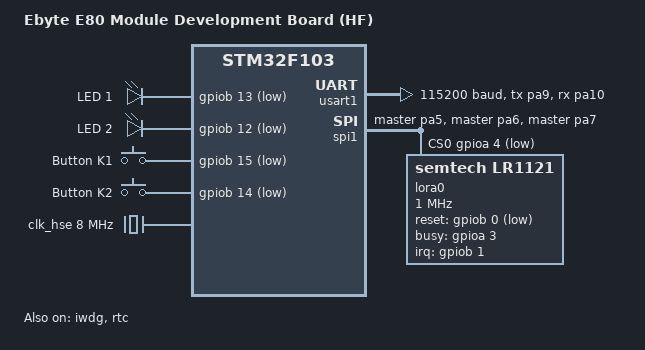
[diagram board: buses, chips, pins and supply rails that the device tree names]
/*
 * Copyright (c) 2026 MASSDRIVER EI (massdriver.space)
 *
 * SPDX-License-Identifier: Apache-2.0
 */

/dts-v1/;
#include <st/f1/stm32f103X8.dtsi>
#include <st/f1/stm32f103r(8-b)tx-pinctrl.dtsi>
#include <dt-bindings/input/input-event-codes.h>

/ {
	model = "Ebyte E80 Module Development Board (HF)";
	compatible = "stm32f103";

	chosen {
		zephyr,console = &usart1;
		zephyr,shell-uart = &usart1;
		zephyr,sram = &sram0;
		zephyr,flash = &flash0;
	};

	leds {
		compatible = "gpio-leds";

		blue_led_0: led_0 {
			gpios = <&gpiob 13 GPIO_ACTIVE_LOW>;
			label = "LED 1";
		};

		blue_led_1: led_1 {
			gpios = <&gpiob 12 GPIO_ACTIVE_LOW>;
			label = "LED 2";
		};
	};

	buttons {
		compatible = "gpio-keys";

		button_k1: sw0 {
			gpios = <&gpiob 15 (GPIO_PULL_UP | GPIO_ACTIVE_LOW)>;
			label = "Button K1";
			zephyr,code = <INPUT_KEY_0>;
		};

		button_k2: sw1 {
			gpios = <&gpiob 14 (GPIO_PULL_UP | GPIO_ACTIVE_LOW)>;
			label = "Button K2";
			zephyr,code = <INPUT_KEY_1>;
		};
	};

	aliases {
		led0 = &blue_led_0;
		led1 = &blue_led_1;
		sw0 = &button_k1;
		sw1 = &button_k2;
		watchdog0 = &iwdg;
		lora0 = &lora0;
	};
};

&clk_lsi {
	status = "okay";
};

&clk_hse {
	clock-frequency = <DT_FREQ_M(8)>;
	status = "okay";
};

&pll {
	mul = <9>;
	clocks = <&clk_hse>;
	status = "okay";
};

&rcc {
	clocks = <&pll>;
	clock-frequency = <DT_FREQ_M(72)>;
	ahb-prescaler = <1>;
	apb1-prescaler = <2>;
	apb2-prescaler = <1>;
	/* usbpre not set: USB clock = 72 / 1.5: 48MHz */
};

&usart1 {
	pinctrl-0 = <&usart1_tx_pa9 &usart1_rx_pa10>;
	pinctrl-names = "default";
	current-speed = <115200>;
	status = "okay";
};

&spi1 {
	pinctrl-0 = <&spi1_sck_master_pa5 &spi1_miso_master_pa6 &spi1_mosi_master_pa7>;
	pinctrl-names = "default";
	status = "okay";

	cs-gpios = <&gpioa 4 (GPIO_PULL_UP | GPIO_ACTIVE_LOW)>;

	lora0: lora@0 {
		compatible = "semtech,lr1121";
		status = "okay";
		reg = <0>;
		spi-max-frequency = <1000000>;
		reset-gpios = <&gpiob 0 GPIO_ACTIVE_LOW>;
		busy-gpios = <&gpioa 3 GPIO_ACTIVE_HIGH>;
		irq-gpios = <&gpiob 1 (GPIO_PULL_DOWN | GPIO_ACTIVE_HIGH)>;
		lf-clk = "XTAL";
		rfsw-enable = <0x07>;
		rfsw-standby = <0x00>;
		rfsw-rx = <0x02>;
		rfsw-tx = <0x03>;
		rfsw-tx-hp = <0x01>;
		rfsw-tx-hf = <0x00>;
		rfsw-gnss = <0x04>;
		rfsw-wifi = <0x00>;
		tcxo-voltage = <1800>;
		use-dcdc;
		rx-boosted;
	};
};

&iwdg {
	status = "okay";
};

&rtc {
	clocks = <&rcc STM32_CLOCK(APB1, 28)>,
		 <&rcc STM32_SRC_LSI RTC_SEL(2)>;
	status = "okay";
};
